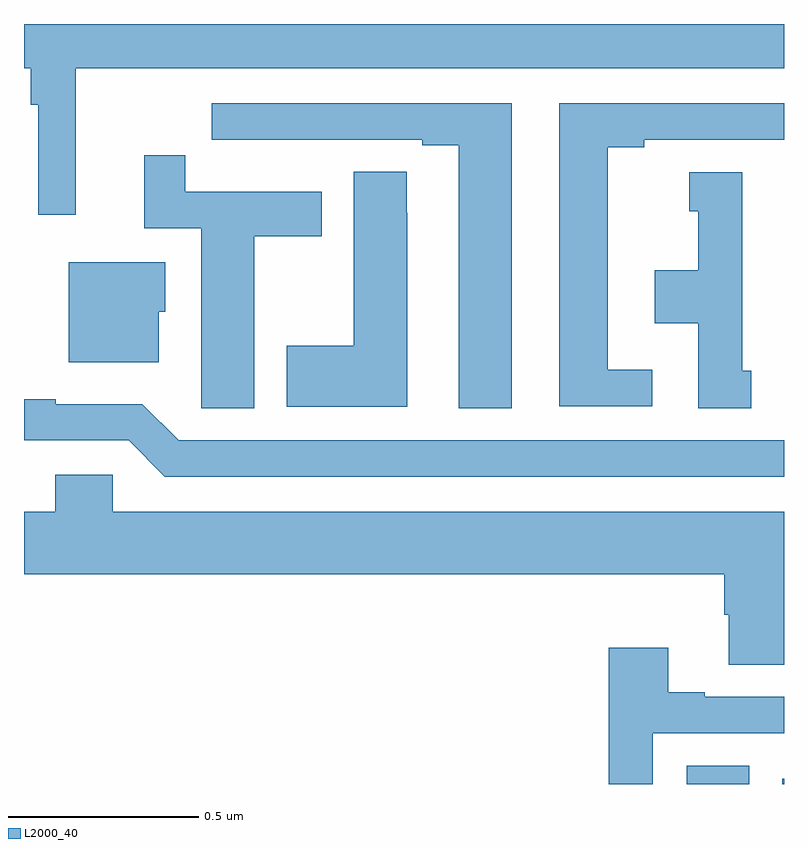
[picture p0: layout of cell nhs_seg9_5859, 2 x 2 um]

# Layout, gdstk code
import gdstk
lib = gdstk.Library(unit=1e-6, precision=1e-09)
def R(c, l, rs):  # rectangles x0, y0, x1, y1
    for r in rs: c.add(gdstk.rectangle(r[:2], r[2:], *l))
def P(c, l, *ps):  # polygons
    for p in ps: c.add(gdstk.Polygon(p, *l))
L2000_40 = (2000, 40)

nhs_seg9_5859 = lib.new_cell('nhs_seg9_5859')
R(nhs_seg9_5859, L2000_40, [(185.744,1230.5,185.908,1230.548), (185.996,1230.5,186,1230.514)])
P(nhs_seg9_5859, L2000_40, [(184.136,1232.384),(186,1232.384),(186,1232.5),(184,1232.5),(184,1232.384),(184.018,1232.384),(184.018,1232.288),(184.038,1232.288),(184.038,1231.998),(184.136,1231.998)],
  [(185.653,1231.59),(185.536,1231.59),(185.536,1232.176),(185.632,1232.176),(185.632,1232.196),(186,1232.196),(186,1232.292),(185.408,1232.292),(185.408,1231.494),(185.653,1231.494)],
  [(185.284,1232.292),(184.494,1232.292),(184.494,1232.196),(184.606,1232.196),(184.606,1232.195),(184.772,1232.195),(184.772,1232.196),(185.048,1232.196),(185.048,1232.181),(185.144,1232.181),(185.144,1231.489),(185.284,1231.489)],
  [(184.606,1231.942),(184.783,1231.942),(184.783,1232.058),(184.424,1232.058),(184.424,1232.155),(184.316,1232.155),(184.316,1231.962),(184.466,1231.962),(184.466,1231.6),(184.467,1231.6),(184.467,1231.489),(184.606,1231.489)],
  [(185.008,1232.003),(185.007,1232.003),(185.007,1232.111),(184.868,1232.111),(184.868,1231.653),(184.691,1231.653),(184.691,1231.493),(185.008,1231.493)],
  [(185.914,1231.587),(185.89,1231.587),(185.89,1232.11),(185.75,1232.11),(185.75,1232.007),(185.774,1232.007),(185.774,1231.852),(185.66,1231.852),(185.66,1231.712),(185.774,1231.712),(185.774,1231.489),(185.914,1231.489)],
  [(184.354,1231.743),(184.372,1231.743),(184.372,1231.873),(184.118,1231.873),(184.118,1231.61),(184.354,1231.61)],
  [(186,1231.404),(184.407,1231.404),(184.311,1231.5),(184.084,1231.5),(184.084,1231.513),(184,1231.513),(184,1231.404),(184.275,1231.404),(184.371,1231.308),(186,1231.308)],
  [(186,1231.216),(184.233,1231.216),(184.233,1231.314),(184.082,1231.314),(184.082,1231.216),(184,1231.216),(184,1231.052),(185.843,1231.052),(185.843,1230.946),(185.855,1230.946),(185.855,1230.814),(186,1230.814)],
  [(185.655,1230.633),(186,1230.633),(186,1230.729),(185.791,1230.729),(185.791,1230.742),(185.695,1230.742),(185.695,1230.859),(185.539,1230.859),(185.539,1230.5),(185.655,1230.5)])

lib.write_gds('nhs_seg9_5859.gds')
